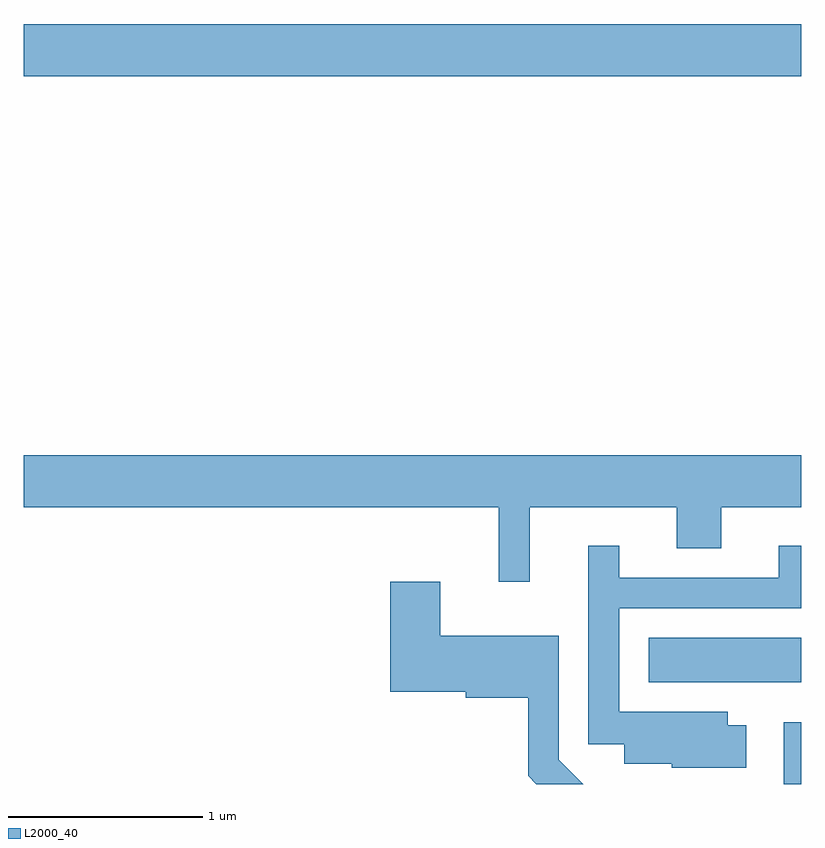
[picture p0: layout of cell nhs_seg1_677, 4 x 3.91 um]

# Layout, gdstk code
import gdstk
lib = gdstk.Library(unit=1e-6, precision=1e-09)
def R(c, l, rs):  # rectangles x0, y0, x1, y1
    for r in rs: c.add(gdstk.rectangle(r[:2], r[2:], *l))
def P(c, l, *ps):  # polygons
    for p in ps: c.add(gdstk.Polygon(p, *l))
L2000_40 = (2000, 40)

nhs_seg1_677 = lib.new_cell('nhs_seg1_677')
R(nhs_seg1_677, L2000_40, [(209.521,893.712,209.611,894.029), (208.826,894.236,209.611,894.464), (205.611,897.356,209.611,897.624)])
P(nhs_seg1_677, L2000_40, [(208.214,895.136),(208.971,895.136),(208.971,894.926),(209.199,894.926),(209.199,895.136),(209.611,895.136),(209.611,895.404),(205.611,895.404),(205.611,895.136),(208.056,895.136),(208.056,894.753),(208.214,894.753)],
  [(209.329,894.014),(209.234,894.014),(209.234,894.084),(208.674,894.084),(208.674,894.616),(209.611,894.616),(209.611,894.938),(209.496,894.938),(209.496,894.774),(208.674,894.774),(208.674,894.938),(208.516,894.938),(208.516,893.916),(208.701,893.916),(208.701,893.816),(208.946,893.816),(208.946,893.796),(209.329,893.796)],
  [(208.364,893.837),(208.364,894.474),(207.754,894.474),(207.754,894.754),(207.496,894.754),(207.496,894.186),(207.886,894.186),(207.886,894.156),(208.206,894.156),(208.206,893.754),(208.248,893.712),(208.489,893.712)])

lib.write_gds('nhs_seg1_677.gds')
